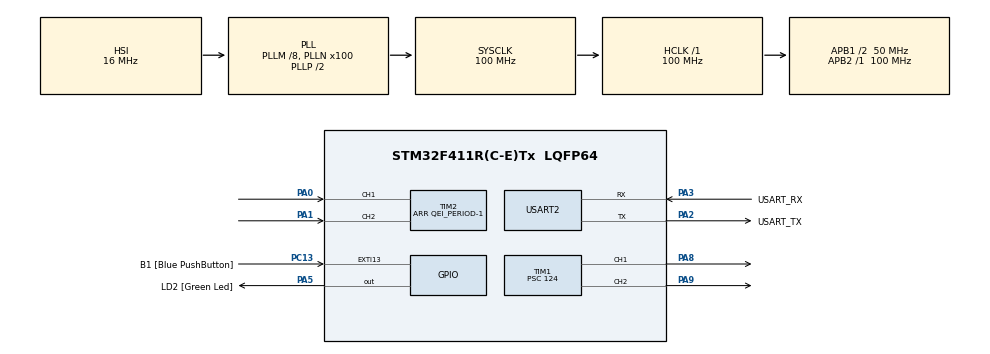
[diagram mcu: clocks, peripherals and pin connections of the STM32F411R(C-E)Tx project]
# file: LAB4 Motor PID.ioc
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ARM.CMSIS.5.6.0.CMSISJjCORE=true
ARM.CMSIS.5.6.0.CMSISJjDSP=Library
Mcu.Family=STM32F4
Mcu.Name=STM32F411R(C-E)Tx
Mcu.Package=LQFP64
Mcu.UserConstants=QEI_PERIOD,3072
NVIC.PriorityGroup=NVIC_PRIORITYGROUP_0
NVIC.TIM3_IRQn=true\:0\:0\:false\:false\:true\:true\:true\:true
PA0-WKUP.Signal=S_TIM2_CH1_ETR
PA1.Signal=S_TIM2_CH2
PA13.GPIO_Label=TMS
PA13.Mode=Trace_Asynchronous_SW
PA13.Signal=SYS_JTMS-SWDIO
PA14.GPIO_Label=TCK
PA14.Mode=Trace_Asynchronous_SW
PA14.Signal=SYS_JTCK-SWCLK
PA2.GPIO_Label=USART_TX
PA2.Mode=Asynchronous
PA2.Signal=USART2_TX
PA3.GPIO_Label=USART_RX
PA3.Mode=Asynchronous
PA3.Signal=USART2_RX
PA5.GPIO_Label=LD2 [Green Led]
PA5.Signal=GPIO_Output
PA8.Signal=S_TIM1_CH1
PA9.Signal=S_TIM1_CH2
PB3.GPIO_Label=SWO
PB3.Mode=Trace_Asynchronous_SW
PB3.Signal=SYS_JTDO-SWO
PC13-ANTI_TAMP.GPIO_Label=B1 [Blue PushButton]
PC13-ANTI_TAMP.GPIO_ModeDefaultEXTI=GPIO_MODE_IT_FALLING
PC13-ANTI_TAMP.Signal=GPXTI13
PC14-OSC32_IN.Mode=LSE-External-Oscillator
PC14-OSC32_IN.Signal=RCC_OSC32_IN
PC15-OSC32_OUT.Mode=LSE-External-Oscillator
PC15-OSC32_OUT.Signal=RCC_OSC32_OUT
PH0\ -\ OSC_IN.Mode=HSE-External-Clock-Source
PH0\ -\ OSC_IN.Signal=RCC_OSC_IN
PH1\ -\ OSC_OUT.Mode=HSE-External-Clock-Source
PH1\ -\ OSC_OUT.Signal=RCC_OSC_OUT
ProjectManager.HeapSize=0x200
ProjectManager.StackSize=0x400
ProjectManager.TargetToolchain=STM32CubeIDE
RCC.48MHZClocksFreq_Value=50000000
RCC.AHBFreq_Value=100000000
RCC.APB1CLKDivider=RCC_HCLK_DIV2
RCC.APB1Freq_Value=50000000
RCC.APB1TimFreq_Value=100000000
RCC.APB2Freq_Value=100000000
RCC.APB2TimFreq_Value=100000000
RCC.CortexFreq_Value=100000000
RCC.FLatency-AdvancedSettings=FLASH_LATENCY_3
RCC.HCLKFreq_Value=100000000
RCC.HSE_VALUE=8000000
RCC.HSI_VALUE=16000000
RCC.PLLM=8
RCC.PLLN=100
RCC.SYSCLKFreq_VALUE=100000000
RCC.SYSCLKSource=RCC_SYSCLKSOURCE_PLLCLK
RCC.VCOOutputFreq_Value=200000000
SH.S_TIM1_CH1.0=TIM1_CH1,PWM Generation1 CH1
SH.S_TIM1_CH2.0=TIM1_CH2,PWM Generation2 CH2
SH.S_TIM2_CH1_ETR.0=TIM2_CH1,Encoder_Interface
SH.S_TIM2_CH2.0=TIM2_CH2,Encoder_Interface
TIM1.Channel-PWM\ Generation1\ CH1=TIM_CHANNEL_1
TIM1.Channel-PWM\ Generation2\ CH2=TIM_CHANNEL_2
TIM1.Period=999
TIM1.Prescaler=124
TIM2.EncoderMode=TIM_ENCODERMODE_TI12
TIM2.Period=QEI_PERIOD-1
TIM3.Period=999
TIM3.Prescaler=99
USART2.VirtualMode=VM_ASYNC
VP_ARM.CMSIS_VS_CMSISJjCORE_5.3.0_5.6.0.Mode=CMSISJjCORE
VP_ARM.CMSIS_VS_CMSISJjDSP_1.7.0_5.6.0.Mode=CMSISJjDSP
VP_TIM1_VS_ClockSourceINT.Mode=Internal
VP_TIM3_VS_ClockSourceINT.Mode=Internal
board=NUCLEO-F411RE

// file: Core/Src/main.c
/* USER CODE BEGIN Header */
/**
 ******************************************************************************
 * @file           : main.c
 * @brief          : Main program body
 ******************************************************************************
 * @attention
 *
 * Copyright (c) 2023 STMicroelectronics.
 * All rights reserved.
 *
 * This software is licensed under terms that can be found in the LICENSE file
 * in the root directory of this software component.
 * If no LICENSE file comes with this software, it is provided AS-IS.
 *
 ******************************************************************************
 */
/* USER CODE END Header */
#include "main.h"

/* USER CODE BEGIN Includes */
#include "arm_math.h"
/* USER CODE END Includes */

TIM_HandleTypeDef htim1;
TIM_HandleTypeDef htim2;
TIM_HandleTypeDef htim3;

UART_HandleTypeDef huart2;

/* USER CODE BEGIN PV */

float voltage = 0;
int32_t QEIReadRaw = 0;
float degrees;
float setpoint = 0;

arm_pid_instance_f32 PID = { 0 };

/* USER CODE END PV */

void SystemClock_Config(void);
static void MX_GPIO_Init(void);
static void MX_USART2_UART_Init(void);
static void MX_TIM1_Init(void);
static void MX_TIM2_Init(void);
static void MX_TIM3_Init(void);
/* USER CODE BEGIN PFP */

void QEI_unwrap();
void motor(float Vin);

/* USER CODE END PFP */

int main(void) {

	/* MCU Configuration--------------------------------------------------------*/

	/* Reset of all peripherals, Initializes the Flash interface and the Systick. */
	HAL_Init();

	/* Configure the system clock */
	SystemClock_Config();

	/* Initialize all configured peripherals */
	MX_GPIO_Init();
	MX_USART2_UART_Init();
	MX_TIM1_Init();
	MX_TIM2_Init();
	MX_TIM3_Init();
	/* USER CODE BEGIN 2 */

	// Timer 1 Generate PWM (F100M / P125 / C1000/ F800Hz)
	HAL_TIM_Base_Start(&htim1);
	HAL_TIM_PWM_Start(&htim1, TIM_CHANNEL_1);
	HAL_TIM_PWM_Start(&htim1, TIM_CHANNEL_2);

	// Timer 2 Handle QEI
	HAL_TIM_Encoder_Start(&htim2, TIM_CHANNEL_1 | TIM_CHANNEL_2);

	// Timer 3 Timer Interrupt (1000Hz)
	HAL_TIM_Base_Start_IT(&htim3);

	// setup PID
	PID.Kp = 0.3;
	PID.Ki = 0;
	PID.Kd = 0;
	arm_pid_init_f32(&PID, 0);

	/* USER CODE END 2 */

	/* Infinite loop */
	while (1) {

	}
}

void SystemClock_Config(void) {
	RCC_OscInitTypeDef RCC_OscInitStruct = { 0 };
	RCC_ClkInitTypeDef RCC_ClkInitStruct = { 0 };

	/** Configure the main internal regulator output voltage
	 */
	__HAL_RCC_PWR_CLK_ENABLE();
	__HAL_PWR_VOLTAGESCALING_CONFIG(PWR_REGULATOR_VOLTAGE_SCALE1);

	/** Initializes the RCC Oscillators according to the specified parameters
	 * in the RCC_OscInitTypeDef structure.
	 */
	RCC_OscInitStruct.OscillatorType = RCC_OSCILLATORTYPE_HSI;
	RCC_OscInitStruct.HSIState = RCC_HSI_ON;
	RCC_OscInitStruct.HSICalibrationValue = RCC_HSICALIBRATION_DEFAULT;
	RCC_OscInitStruct.PLL.PLLState = RCC_PLL_ON;
	RCC_OscInitStruct.PLL.PLLSource = RCC_PLLSOURCE_HSI;
	RCC_OscInitStruct.PLL.PLLM = 8;
	RCC_OscInitStruct.PLL.PLLN = 100;
	RCC_OscInitStruct.PLL.PLLP = RCC_PLLP_DIV2;
	RCC_OscInitStruct.PLL.PLLQ = 4;
	if (HAL_RCC_OscConfig(&RCC_OscInitStruct) != HAL_OK) {
		Error_Handler();
	}

	/** Initializes the CPU, AHB and APB buses clocks
	 */
	RCC_ClkInitStruct.ClockType = RCC_CLOCKTYPE_HCLK | RCC_CLOCKTYPE_SYSCLK | RCC_CLOCKTYPE_PCLK1 | RCC_CLOCKTYPE_PCLK2;
	RCC_ClkInitStruct.SYSCLKSource = RCC_SYSCLKSOURCE_PLLCLK;
	RCC_ClkInitStruct.AHBCLKDivider = RCC_SYSCLK_DIV1;
	RCC_ClkInitStruct.APB1CLKDivider = RCC_HCLK_DIV2;
	RCC_ClkInitStruct.APB2CLKDivider = RCC_HCLK_DIV1;

	if (HAL_RCC_ClockConfig(&RCC_ClkInitStruct, FLASH_LATENCY_3) != HAL_OK) {
		Error_Handler();
	}
}

static void MX_TIM1_Init(void) {

	TIM_ClockConfigTypeDef sClockSourceConfig = { 0 };
	TIM_MasterConfigTypeDef sMasterConfig = { 0 };
	TIM_OC_InitTypeDef sConfigOC = { 0 };
	TIM_BreakDeadTimeConfigTypeDef sBreakDeadTimeConfig = { 0 };

	htim1.Instance = TIM1;
	htim1.Init.Prescaler = 124;
	htim1.Init.CounterMode = TIM_COUNTERMODE_UP;
	htim1.Init.Period = 999;
	htim1.Init.ClockDivision = TIM_CLOCKDIVISION_DIV1;
	htim1.Init.RepetitionCounter = 0;
	htim1.Init.AutoReloadPreload = TIM_AUTORELOAD_PRELOAD_DISABLE;
	if (HAL_TIM_Base_Init(&htim1) != HAL_OK) {
		Error_Handler();
	}
	sClockSourceConfig.ClockSource = TIM_CLOCKSOURCE_INTERNAL;
	if (HAL_TIM_ConfigClockSource(&htim1, &sClockSourceConfig) != HAL_OK) {
		Error_Handler();
	}
	if (HAL_TIM_PWM_Init(&htim1) != HAL_OK) {
		Error_Handler();
	}
	sMasterConfig.MasterOutputTrigger = TIM_TRGO_RESET;
	sMasterConfig.MasterSlaveMode = TIM_MASTERSLAVEMODE_DISABLE;
	if (HAL_TIMEx_MasterConfigSynchronization(&htim1, &sMasterConfig) != HAL_OK) {
		Error_Handler();
	}
	sConfigOC.OCMode = TIM_OCMODE_PWM1;
	sConfigOC.Pulse = 0;
	sConfigOC.OCPolarity = TIM_OCPOLARITY_HIGH;
	sConfigOC.OCNPolarity = TIM_OCNPOLARITY_HIGH;
	sConfigOC.OCFastMode = TIM_OCFAST_DISABLE;
	sConfigOC.OCIdleState = TIM_OCIDLESTATE_RESET;
	sConfigOC.OCNIdleState = TIM_OCNIDLESTATE_RESET;
	if (HAL_TIM_PWM_ConfigChannel(&htim1, &sConfigOC, TIM_CHANNEL_1) != HAL_OK) {
		Error_Handler();
	}
	if (HAL_TIM_PWM_ConfigChannel(&htim1, &sConfigOC, TIM_CHANNEL_2) != HAL_OK) {
		Error_Handler();
	}
	sBreakDeadTimeConfig.OffStateRunMode = TIM_OSSR_DISABLE;
	sBreakDeadTimeConfig.OffStateIDLEMode = TIM_OSSI_DISABLE;
	sBreakDeadTimeConfig.LockLevel = TIM_LOCKLEVEL_OFF;
	sBreakDeadTimeConfig.DeadTime = 0;
	sBreakDeadTimeConfig.BreakState = TIM_BREAK_DISABLE;
	sBreakDeadTimeConfig.BreakPolarity = TIM_BREAKPOLARITY_HIGH;
	sBreakDeadTimeConfig.AutomaticOutput = TIM_AUTOMATICOUTPUT_DISABLE;
	if (HAL_TIMEx_ConfigBreakDeadTime(&htim1, &sBreakDeadTimeConfig) != HAL_OK) {
		Error_Handler();
	}
	HAL_TIM_MspPostInit(&htim1);

}

static void MX_TIM2_Init(void) {

	TIM_Encoder_InitTypeDef sConfig = { 0 };
	TIM_MasterConfigTypeDef sMasterConfig = { 0 };

	htim2.Instance = TIM2;
	htim2.Init.Prescaler = 0;
	htim2.Init.CounterMode = TIM_COUNTERMODE_UP;
	htim2.Init.Period = QEI_PERIOD - 1;
	htim2.Init.ClockDivision = TIM_CLOCKDIVISION_DIV1;
	htim2.Init.AutoReloadPreload = TIM_AUTORELOAD_PRELOAD_DISABLE;
	sConfig.EncoderMode = TIM_ENCODERMODE_TI12;
	sConfig.IC1Polarity = TIM_ICPOLARITY_RISING;
	sConfig.IC1Selection = TIM_ICSELECTION_DIRECTTI;
	sConfig.IC1Prescaler = TIM_ICPSC_DIV1;
	sConfig.IC1Filter = 0;
	sConfig.IC2Polarity = TIM_ICPOLARITY_RISING;
	sConfig.IC2Selection = TIM_ICSELECTION_DIRECTTI;
	sConfig.IC2Prescaler = TIM_ICPSC_DIV1;
	sConfig.IC2Filter = 0;
	if (HAL_TIM_Encoder_Init(&htim2, &sConfig) != HAL_OK) {
		Error_Handler();
	}
	sMasterConfig.MasterOutputTrigger = TIM_TRGO_RESET;
	sMasterConfig.MasterSlaveMode = TIM_MASTERSLAVEMODE_DISABLE;
	if (HAL_TIMEx_MasterConfigSynchronization(&htim2, &sMasterConfig) != HAL_OK) {
		Error_Handler();
	}

}

static void MX_TIM3_Init(void) {

	TIM_ClockConfigTypeDef sClockSourceConfig = { 0 };
	TIM_MasterConfigTypeDef sMasterConfig = { 0 };

	htim3.Instance = TIM3;
	htim3.Init.Prescaler = 99;
	htim3.Init.CounterMode = TIM_COUNTERMODE_UP;
	htim3.Init.Period = 999;
	htim3.Init.ClockDivision = TIM_CLOCKDIVISION_DIV1;
	htim3.Init.AutoReloadPreload = TIM_AUTORELOAD_PRELOAD_DISABLE;
	if (HAL_TIM_Base_Init(&htim3) != HAL_OK) {
		Error_Handler();
	}
	sClockSourceConfig.ClockSource = TIM_CLOCKSOURCE_INTERNAL;
	if (HAL_TIM_ConfigClockSource(&htim3, &sClockSourceConfig) != HAL_OK) {
		Error_Handler();
	}
	sMasterConfig.MasterOutputTrigger = TIM_TRGO_RESET;
	sMasterConfig.MasterSlaveMode = TIM_MASTERSLAVEMODE_DISABLE;
	if (HAL_TIMEx_MasterConfigSynchronization(&htim3, &sMasterConfig) != HAL_OK) {
		Error_Handler();
	}

}

static void MX_USART2_UART_Init(void) {

	huart2.Instance = USART2;
	huart2.Init.BaudRate = 115200;
	huart2.Init.WordLength = UART_WORDLENGTH_8B;
	huart2.Init.StopBits = UART_STOPBITS_1;
	huart2.Init.Parity = UART_PARITY_NONE;
	huart2.Init.Mode = UART_MODE_TX_RX;
	huart2.Init.HwFlowCtl = UART_HWCONTROL_NONE;
	huart2.Init.OverSampling = UART_OVERSAMPLING_16;
	if (HAL_UART_Init(&huart2) != HAL_OK) {
		Error_Handler();
	}

}

static void MX_GPIO_Init(void) {
	GPIO_InitTypeDef GPIO_InitStruct = { 0 };

	/* GPIO Ports Clock Enable */
	__HAL_RCC_GPIOC_CLK_ENABLE();
	__HAL_RCC_GPIOH_CLK_ENABLE();
	__HAL_RCC_GPIOA_CLK_ENABLE();
	__HAL_RCC_GPIOB_CLK_ENABLE();

	/*Configure GPIO pin Output Level */
	HAL_GPIO_WritePin(LD2_GPIO_Port, LD2_Pin, GPIO_PIN_RESET);

	/*Configure GPIO pin : B1_Pin */
	GPIO_InitStruct.Pin = B1_Pin;
	GPIO_InitStruct.Mode = GPIO_MODE_IT_FALLING;
	GPIO_InitStruct.Pull = GPIO_NOPULL;
	HAL_GPIO_Init(B1_GPIO_Port, &GPIO_InitStruct);

	/*Configure GPIO pin : LD2_Pin */
	GPIO_InitStruct.Pin = LD2_Pin;
	GPIO_InitStruct.Mode = GPIO_MODE_OUTPUT_PP;
	GPIO_InitStruct.Pull = GPIO_NOPULL;
	GPIO_InitStruct.Speed = GPIO_SPEED_FREQ_LOW;
	HAL_GPIO_Init(LD2_GPIO_Port, &GPIO_InitStruct);

}

/* USER CODE BEGIN 4 */

void HAL_TIM_PeriodElapsedCallback(TIM_HandleTypeDef *htim) {
	if (htim == &htim3) {
		// Called every 1ms (1000Hz)
		QEI_unwrap();
		//voltage = arm_pid_f32(&PID, setpoint - degrees);
		voltage = arm_pid_f32(&PID, (setpoint * 3072.0) / 360 - QEIReadRaw);
		motor(voltage);
	}
}

void QEI_unwrap() {
	static uint32_t lastpos = 0;
	uint32_t currentpos = __HAL_TIM_GET_COUNTER(&htim2);

	static int32_t offset = 0;
	int32_t diffpos = currentpos - lastpos;

	if (diffpos > QEI_PERIOD >> 1) {
		offset -= QEI_PERIOD;
	} else if (diffpos < -(QEI_PERIOD >> 1)) {
		offset += QEI_PERIOD;
	}

	QEIReadRaw = currentpos + offset;
	degrees = QEIReadRaw * 360.0 / 3072.0;
	lastpos = currentpos;
}

void motor(float Vin) {
	if (Vin > 0.4) {
		// forward
		if (Vin > 5.0) {
			Vin = 5.0;
		}
		__HAL_TIM_SET_COMPARE(&htim1, TIM_CHANNEL_1, Vin * 200.0);
		__HAL_TIM_SET_COMPARE(&htim1, TIM_CHANNEL_2, 0);
	} else if (Vin < -0.4) {
		// reverse
		Vin *= -1.0;
		if (Vin > 5.0) {
			Vin = 5.0;
		}
		__HAL_TIM_SET_COMPARE(&htim1, TIM_CHANNEL_1, 0);
		__HAL_TIM_SET_COMPARE(&htim1, TIM_CHANNEL_2, Vin * 200.0);
	} else {
		// stop
		__HAL_TIM_SET_COMPARE(&htim1, TIM_CHANNEL_1, 0);
		__HAL_TIM_SET_COMPARE(&htim1, TIM_CHANNEL_2, 0);
	}

}

/* USER CODE END 4 */

void Error_Handler(void) {
	__disable_irq();
	while (1) {
	}
}
